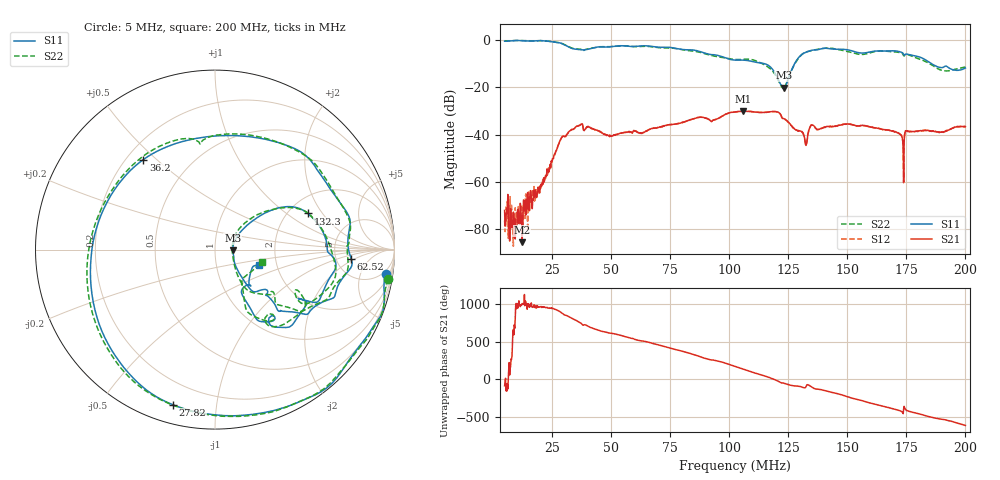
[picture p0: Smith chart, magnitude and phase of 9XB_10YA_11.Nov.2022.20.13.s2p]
!Keysight Technologies N9917A: A.12.46
!Date: Friday, 11 November 2022 20:13:26
!Timezone: (UTC) Coordinated Universal Time
!Model: N9917A
!Serial: MY56071016
!GPS Latitude:
!GPS Longitude:
!GPS TimeStamp: 0001-01-01 00:00:00Z
!GPS Seconds Since Last Read: 0
!CHECKSUM:1402909269
!Correction: S11(ON U)S21(ON U)S12(ON U)S22(ON U)
!S2P File: Measurements:S11,S21,S12,S22:
# Hz S DB R 50
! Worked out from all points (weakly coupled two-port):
!   1001 points, 5 MHz to 200 MHz, reference 50 ohm
!   highest |S21| = -30.05 dB at 106 MHz (marker M1); lowest = -85.8 dB at 12.41 MHz (marker M2)
!   lowest |S11| = -20.1 dB at 123.2 MHz (marker M3), VSWR 1.22, Z = 60.9 - j0.616 ohm
!   |S11| at or under -10 dB: 115.3 MHz to 127.7 MHz (12.34 MHz wide, 10.2 % of centre); 185.8 MHz to end of sweep
!   |S22| runs from -20.4 to 0.0 dB; largest |S21 - S12| = 0.00071
!   S11 on the Smith chart (normalised r, x): 5 MHz: 4, -13; 27.82 MHz: 0.09, -0.76; 36.2 MHz: 0.27, +0.45; 62.52 MHz: 6.94, -1.70; 132.3 MHz: 2.53, +1.47; 200 MHz: 1.61, -0.30
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5000000  -0.35 -8.0  -72.22 -89.5  -76.49 49.3  -0.21 -9.7
9095000  -0.09 -17.9  -83.71 5.9  -83.32 -150.5  -0.07 -18.9
1.241e7  -0.15 -25.2  -85.76 -70.7  -75.98 -42.5  -0.13 -26.1
2.1185e7  -0.17 -56.2  -61.20 -119.1  -58.81 -114.1  -0.19 -56.7
2.7815e7  -0.95 -105.0  -44.30 -166.8  -44.17 -168.1  -0.94 -105.6
3.2105e7  -2.84 -163.3  -38.92 115.4  -38.84 116.9  -2.66 -165.3
3.62e7  -3.86 128.5  -36.32 47.4  -36.26 47.9  -3.66 124.8
3.7565e7  -4.02 109.7  -35.53 21.6  -35.53 21.6  -3.91 103.6
4.5755e7  -2.75 43.1  -39.01 -77.1  -38.92 -75.9  -2.69 41.0
6.2525e7  -2.37 -3.9  -39.26 154.5  -39.41 154.0  -2.57 -4.7
7.013e7  -2.91 -16.0  -37.01 97.8  -37.02 97.8  -3.09 -16.0
1.025e8  -8.39 -42.0  -30.39 170.1  -30.46 170.1  -8.12 -36.5
1.0601e8  -8.40 -39.9  -30.05 132.3  -30.11 132.0  -8.03 -38.2
1.1654e8  -10.56 -48.3  -30.46 26.7  -30.46 27.3  -11.37 -52.0
1.2317e8  -20.13 -2.9  -33.26 -54.1  -33.34 -54.0  -20.32 7.3
1.32335e8  -5.12 21.3  -44.05 -111.5  -44.16 -108.6  -4.96 20.1
1.35065e8  -4.21 7.0  -35.99 -107.8  -35.87 -108.2  -4.28 9.8
1.47935e8  -3.79 -25.3  -35.71 147.1  -35.76 146.7  -4.24 -27.9
1.6763e8  -4.47 -41.3  -38.21 -20.7  -38.10 -20.9  -4.70 -40.2
1.73285e8  -5.22 -52.1  -41.40 -80.7  -41.51 -79.8  -5.57 -54.1
1.7543e8  -5.87 -51.8  -38.75 -62.1  -38.59 -62.3  -5.97 -52.5
2e8  -11.74 -19.6  -36.71 100.9  -36.48 101.0  -11.30 -14.6
